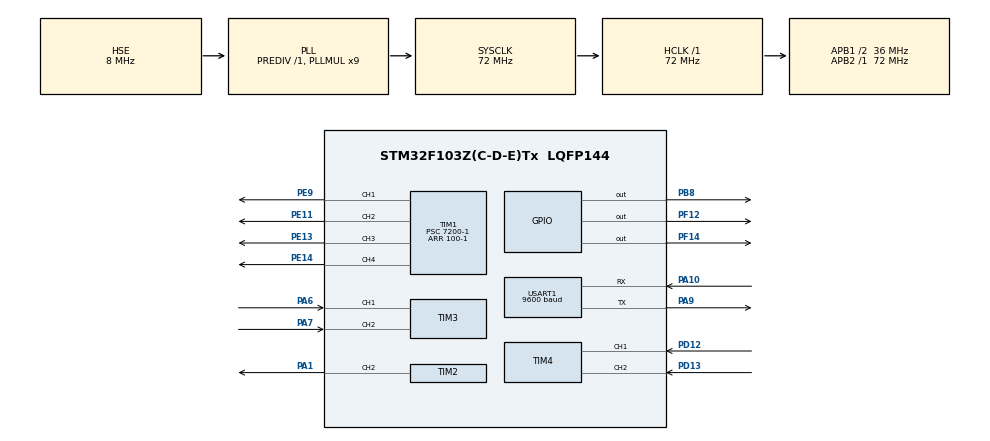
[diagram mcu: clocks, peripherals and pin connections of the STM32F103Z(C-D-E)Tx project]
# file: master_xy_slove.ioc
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Mcu.Family=STM32F1
Mcu.Name=STM32F103Z(C-D-E)Tx
Mcu.Package=LQFP144
NVIC.PriorityGroup=NVIC_PRIORITYGROUP_4
NVIC.TIM3_IRQn=true\:0\:0\:false\:false\:true\:true\:true\:true
NVIC.TIM4_IRQn=true\:0\:0\:false\:false\:true\:true\:true\:true
NVIC.TIM6_IRQn=true\:0\:0\:false\:false\:true\:true\:true\:true
NVIC.USART1_IRQn=true\:0\:0\:false\:false\:true\:true\:true\:true
OSC_IN.Mode=HSE-External-Oscillator
OSC_IN.Signal=RCC_OSC_IN
OSC_OUT.Mode=HSE-External-Oscillator
OSC_OUT.Signal=RCC_OSC_OUT
PA1.Signal=S_TIM2_CH2
PA10.Mode=Asynchronous
PA10.Signal=USART1_RX
PA13.Mode=Serial_Wire
PA13.Signal=SYS_JTMS-SWDIO
PA14.Mode=Serial_Wire
PA14.Signal=SYS_JTCK-SWCLK
PA6.Signal=S_TIM3_CH1
PA7.Signal=S_TIM3_CH2
PA9.Mode=Asynchronous
PA9.Signal=USART1_TX
PB8.Signal=GPIO_Output
PD12.Signal=S_TIM4_CH1
PD13.Signal=S_TIM4_CH2
PE11.Signal=S_TIM1_CH2
PE13.Signal=S_TIM1_CH3
PE14.Signal=S_TIM1_CH4
PE9.Signal=S_TIM1_CH1
PF12.Signal=GPIO_Output
PF14.Signal=GPIO_Output
ProjectManager.HeapSize=0x200
ProjectManager.StackSize=0x400
ProjectManager.TargetToolchain=MDK-ARM V5.32
RCC.AHBFreq_Value=72000000
RCC.APB1CLKDivider=RCC_HCLK_DIV2
RCC.APB1Freq_Value=36000000
RCC.APB1TimFreq_Value=72000000
RCC.APB2Freq_Value=72000000
RCC.APB2TimFreq_Value=72000000
RCC.HCLKFreq_Value=72000000
RCC.PLLMUL=RCC_PLL_MUL9
RCC.PLLSourceVirtual=RCC_PLLSOURCE_HSE
RCC.SYSCLKFreq_VALUE=72000000
RCC.SYSCLKSource=RCC_SYSCLKSOURCE_PLLCLK
RCC.USBFreq_Value=72000000
SH.S_TIM1_CH1.0=TIM1_CH1,PWM Generation1 CH1
SH.S_TIM1_CH2.0=TIM1_CH2,PWM Generation2 CH2
SH.S_TIM1_CH3.0=TIM1_CH3,PWM Generation3 CH3
SH.S_TIM1_CH4.0=TIM1_CH4,PWM Generation4 CH4
SH.S_TIM2_CH2.0=TIM2_CH2,PWM Generation2 CH2
SH.S_TIM3_CH1.0=TIM3_CH1,Encoder_Interface
SH.S_TIM3_CH2.0=TIM3_CH2,Encoder_Interface
SH.S_TIM4_CH1.0=TIM4_CH1,Encoder_Interface
SH.S_TIM4_CH2.0=TIM4_CH2,Encoder_Interface
TIM1.Channel-PWM\ Generation1\ CH1=TIM_CHANNEL_1
TIM1.Channel-PWM\ Generation2\ CH2=TIM_CHANNEL_2
TIM1.Channel-PWM\ Generation3\ CH3=TIM_CHANNEL_3
TIM1.Channel-PWM\ Generation4\ CH4=TIM_CHANNEL_4
TIM1.Period=100-1
TIM1.Prescaler=7200-1
TIM2.Channel-PWM\ Generation2\ CH2=TIM_CHANNEL_2
TIM2.Period=20000-1
TIM2.Prescaler=72-1
TIM3.EncoderMode=TIM_ENCODERMODE_TI12
TIM4.EncoderMode=TIM_ENCODERMODE_TI12
TIM6.Period=1000-1
TIM6.Prescaler=7200-1
TIM7.Prescaler=7200
USART1.BaudRate=9600
USART1.VirtualMode=VM_ASYNC
VP_TIM6_VS_ClockSourceINT.Mode=Enable_Timer
VP_TIM7_VS_ClockSourceINT.Mode=Enable_Timer
board=custom

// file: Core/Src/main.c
/* USER CODE BEGIN Header */
/**
  ******************************************************************************
  * @file           : main.c
  * @brief          : Main program body
  ******************************************************************************
  * @attention
  *
  * Copyright (c) 2024 STMicroelectronics.
  * All rights reserved.
  *
  * This software is licensed under terms that can be found in the LICENSE file
  * in the root directory of this software component.
  * If no LICENSE file comes with this software, it is provided AS-IS.
  *
  ******************************************************************************
  */
/* USER CODE END Header */
#include "main.h"
#include "tim.h"
#include "usart.h"
#include "gpio.h"

/* USER CODE BEGIN Includes */
#include "stdio.h"
#include "string.h"
#include "oled.h"

/* USER CODE END Includes */

/* USER CODE BEGIN PD */
#define pi 3.14			//圆周率
#define r  1.5			//编码器所带轮子的半径
#define n  11
#define i  50
#define rr  1.5
#define t  100			//中断一次时间

/* USER CODE END PD */

void SystemClock_Config(void);
/* USER CODE BEGIN PFP */

float  act_m_speed2;
float  act_m_distance2;			//底部绞盘
float  act_m_speed3;
float  act_m_distance3;			//升降梯

int myabs(int a)	//绝对值函数
{
	int temp;
	if(a<0)  temp=-a;
	else temp=a;
	return temp;
}
//pwm驱动电机
//参数（第几个轮子，运动模式，占空比）
void Set_Pwm(uint8_t who,uint8_t mode,int motor_pwm)
{
    if(who==1)
	{
		if(mode==1)
		{
			HAL_GPIO_WritePin (GPIOE,GPIO_PIN_9 ,GPIO_PIN_RESET );
			HAL_GPIO_WritePin (GPIOE,GPIO_PIN_11 ,GPIO_PIN_SET );
			__HAL_TIM_SET_COMPARE (&htim1,TIM_CHANNEL_1 ,0);
			__HAL_TIM_SET_COMPARE (&htim1,TIM_CHANNEL_2 ,motor_pwm);
		}
		else if(mode==2)
		{
			HAL_GPIO_WritePin (GPIOE,GPIO_PIN_9 ,GPIO_PIN_SET );
			HAL_GPIO_WritePin (GPIOE,GPIO_PIN_11,GPIO_PIN_RESET );
			__HAL_TIM_SET_COMPARE (&htim1 ,TIM_CHANNEL_1 ,myabs(motor_pwm));
			__HAL_TIM_SET_COMPARE (&htim1 ,TIM_CHANNEL_2 ,0);
		}
		else if(mode==3)
		{
			if(motor_pwm>0)
			{
			HAL_GPIO_WritePin (GPIOE,GPIO_PIN_9 ,GPIO_PIN_RESET );
			HAL_GPIO_WritePin (GPIOE,GPIO_PIN_11 ,GPIO_PIN_SET );
			__HAL_TIM_SET_COMPARE (&htim1,TIM_CHANNEL_1 ,0);
			__HAL_TIM_SET_COMPARE (&htim1,TIM_CHANNEL_2 ,motor_pwm);
			}
			else if(motor_pwm<0)
			{
			HAL_GPIO_WritePin (GPIOE,GPIO_PIN_9 ,GPIO_PIN_SET );
			HAL_GPIO_WritePin (GPIOE,GPIO_PIN_11,GPIO_PIN_RESET );
			__HAL_TIM_SET_COMPARE (&htim1,TIM_CHANNEL_1 ,myabs(motor_pwm));
			__HAL_TIM_SET_COMPARE (&htim1,TIM_CHANNEL_2 ,0);
			}
			else
			{
				HAL_GPIO_WritePin (GPIOE,GPIO_PIN_9 ,GPIO_PIN_RESET );
				HAL_GPIO_WritePin (GPIOE,GPIO_PIN_11,GPIO_PIN_RESET );
				__HAL_TIM_SET_COMPARE (&htim1 ,TIM_CHANNEL_1,0);
				__HAL_TIM_SET_COMPARE (&htim1 ,TIM_CHANNEL_2,0);
			}
		}
		else
		{
			HAL_GPIO_WritePin (GPIOE,GPIO_PIN_9 ,GPIO_PIN_RESET );
			HAL_GPIO_WritePin (GPIOE,GPIO_PIN_11,GPIO_PIN_RESET );
			__HAL_TIM_SET_COMPARE (&htim1,TIM_CHANNEL_1 ,0);
			__HAL_TIM_SET_COMPARE (&htim1,TIM_CHANNEL_2 ,0);
		}
	}
	if(who==2)							//电机1
	{
		if(mode==1)						//正转
		{
			HAL_GPIO_WritePin (GPIOE,GPIO_PIN_13,GPIO_PIN_RESET );
			HAL_GPIO_WritePin (GPIOE,GPIO_PIN_14 ,GPIO_PIN_SET );
			__HAL_TIM_SET_COMPARE (&htim1 ,TIM_CHANNEL_3 ,0);
			__HAL_TIM_SET_COMPARE (&htim1 ,TIM_CHANNEL_4 ,motor_pwm);
		}
		else if(mode==2)				//反转
		{
			HAL_GPIO_WritePin (GPIOE,GPIO_PIN_13,GPIO_PIN_SET );
			HAL_GPIO_WritePin (GPIOE,GPIO_PIN_14 ,GPIO_PIN_RESET );
			__HAL_TIM_SET_COMPARE (&htim1 ,TIM_CHANNEL_3 ,myabs(motor_pwm));
			__HAL_TIM_SET_COMPARE (&htim1 ,TIM_CHANNEL_4 ,0);
		}
		else if(mode==3)				//pid调节模式
		{
			if(motor_pwm>0)				//正
			{
			HAL_GPIO_WritePin (GPIOE,GPIO_PIN_13,GPIO_PIN_RESET );
			HAL_GPIO_WritePin (GPIOE,GPIO_PIN_14,GPIO_PIN_SET );
			__HAL_TIM_SET_COMPARE (&htim1 ,TIM_CHANNEL_3 ,0);
			__HAL_TIM_SET_COMPARE (&htim1 ,TIM_CHANNEL_4 ,motor_pwm);
			}
			else if(motor_pwm<0)		//反
			{
			HAL_GPIO_WritePin (GPIOE,GPIO_PIN_13,GPIO_PIN_SET );
			HAL_GPIO_WritePin (GPIOE,GPIO_PIN_14 ,GPIO_PIN_RESET );
			__HAL_TIM_SET_COMPARE (&htim1 ,TIM_CHANNEL_3 ,myabs(motor_pwm));
			__HAL_TIM_SET_COMPARE (&htim1 ,TIM_CHANNEL_4 ,0);
			}
			else 						//停
			{
				HAL_GPIO_WritePin (GPIOE,GPIO_PIN_13,GPIO_PIN_RESET );
				HAL_GPIO_WritePin (GPIOE,GPIO_PIN_14 ,GPIO_PIN_RESET );
				__HAL_TIM_SET_COMPARE (&htim1 ,TIM_CHANNEL_3 ,0);
				__HAL_TIM_SET_COMPARE (&htim1 ,TIM_CHANNEL_4 ,0);
			}
		}
		else 							//停
		{
				HAL_GPIO_WritePin (GPIOE,GPIO_PIN_13,GPIO_PIN_RESET );
				HAL_GPIO_WritePin (GPIOE,GPIO_PIN_14 ,GPIO_PIN_RESET );
				__HAL_TIM_SET_COMPARE (&htim1 ,TIM_CHANNEL_3 ,0);
				__HAL_TIM_SET_COMPARE (&htim1 ,TIM_CHANNEL_4 ,0);
		}
	}
}

//定义pid结构体存放pid数据
typedef struct
{
   	float kp,ki,kd;
    float error,err_next,err_last;//误差，上次误差，上上次误差
    float integral,maxIntegral;//积分，积分限幅
    float output,maxOutput;//输出，输出限幅
}pid;

pid add2;//内环
pid pos2;//外环
pid add3;//内环
pid pos3;//外环

//初始化位置环pid参数
void PID_Init_pos(pid *ppid,float p,float ii,float d,float maxI,float maxOut)
{
    ppid->kp=p;
    ppid->ki=ii;
    ppid->kd=d;
    ppid->maxIntegral=maxI;
    ppid->maxOutput=maxOut;
}
//初始化速度环pid参数
void PID_Init_add(pid *ppid,float p,float ii,float d)
{
    ppid->kp=p;
    ppid->ki=ii;
    ppid->kd=d;
}

//位置环
//执行一次pid计算
//参数为（pid结构体，目标值，反馈值），计算结果存放output成员中
float PID_Calc_pos(pid *ppid,float target,float back)
{
 	//更新数据
    ppid->err_next=ppid->error;//??error???
    ppid->error=target-back;//???error
    //计算微分
    float dout=(ppid->error-ppid->err_next)*ppid->kd;
    //计算比例
    float pout=ppid->error*ppid->kp;
    //计算积分
    ppid->integral+=ppid->error*ppid->ki;
    //积分限幅
    if(ppid->integral > ppid->maxIntegral) ppid->integral=ppid->maxIntegral;
    else if(ppid->integral < -ppid->maxIntegral) ppid->integral=-ppid->maxIntegral;
    //计算输出
    ppid->output=pout+dout+ppid->integral;
    //输出限幅
    if(ppid->output > ppid->maxOutput) ppid->output=ppid->maxOutput;
    else if(ppid->output < -ppid->maxOutput) ppid->output=-ppid->maxOutput;
    return ppid->output;
}
//速度环
//执行一次pid计算
//参数为（pid结构体，目标值，反馈值），计算结果存放output成员中
float PID_Calc_add(pid *ppid,float target,float back)
{
 	//更新数据
    ppid->error=target-back;//???error
    //计算微分
    float dout=(ppid->error-2*ppid->err_next+ppid->err_last)*ppid->kd;        //pid.Kd*(pid.err-2*pid.err_next+pid.err_last);
    //计算比例
    float pout=(ppid->error-ppid->err_next)*ppid->kp;                           //pid.Kp*(pid.err-pid.err_next)
    //计算积分
    ppid->integral=ppid->error*ppid->ki;                                        //pid.Ki*pid.err
    //计算输出
	float vas=pout+dout+ppid->integral;
    ppid->output+=vas ;
 	ppid->err_last=ppid->err_next;
    ppid->err_next=ppid->error;//??error???
    return ppid->output;
}

// 获取add/pos当前误差值
float get_error(pid *ppid)
{
  return ppid->error;
}
// 获取add/pos上次误差值
float get_last_error(pid *ppid)
{
  return ppid->err_next ;
}

//串级pid计算
//参数（外环目标值，外环反馈值，内环反溃值）
//外环pid输出目标速度，作为内环输入目标值，限制外环输出，也就是限制车目标速度最大值
float PID_CascadeCalc_2(float pos_targ,float pos_back,float add_back)
{
    float a=PID_Calc_pos(&pos2,pos_targ,pos_back);//计算外环
    float end_value=PID_Calc_add(&add2,a,add_back);//计算内环
    return end_value;
}
float PID_CascadeCalc_3(float pos_targ,float pos_back,float add_back)
{
    float a=PID_Calc_pos(&pos3,pos_targ,pos_back);//计算外环
    float end_value=PID_Calc_add(&add3,a,add_back);//计算内环
    return end_value;
}

//编码器计数	motor_2
int16_t Encoder_Get_2(void)
{
	int16_t Temp;
	Temp =  __HAL_TIM_GetCounter(&htim3);
	TIM3->CNT =0;
	return Temp;
}
//编码器计数	motor_3
int16_t Encoder_Get_3(void)
{
	int16_t Temp;
	Temp =  __HAL_TIM_GetCounter(&htim4);
	TIM4 ->CNT =0;
	return Temp;
}

//得到每次单位时间内行走的距离（轮子2）   cm
float tool_distance_2(void)
{
	int16_t b;
	float s;
    b=Encoder_Get_2();
	s=(b*2*pi*rr)/(4*n*i);
	return s;
}
//得到每次单位时间内行走的距离（轮子3）   cm
float tool_distance_3(void)
{
	int16_t b;
	float s;
    b=Encoder_Get_3();
	s=(b*2*pi*rr)/(4*n*i);
	return s;
}

float target_dis_2(int16_t dis)			//设置轮2目标位移
{
	return dis;
}
float target_dis_3(int16_t dis)			//设置轮3目标位移
{
	return dis;
}

typedef struct
{
	float sx,s2,s3;   //各轮所需要目标位移变量
}dis;
dis dd;
void liner_dis(dis *ddd,float v22,float v33)		//底盘分解公式，得出各轮所需要目标位移
{
	float v2,v3;
	v2=v22;
	v3=v33;
	ddd->s2 =target_dis_2(v2);
	ddd->s3 =target_dis_3(v3);
}

//计算轮子2
float  distance_2;
float  speed_pos_2;
void caculate_2()
{
//	act_m_distance2+=tool_distance_2();   //actual  轮子行径距离cm
//    distance_2=PID_Calc_pos(&pos2,3,act_m_distance2);

    act_m_distance2+=tool_distance_2();   //actual  轮子行径距离cm
	act_m_speed2=tool_distance_2()*10;		//actual  轮子转速cm/s
	speed_pos_2=PID_CascadeCalc_2(dd.s2 ,act_m_distance2,act_m_speed2);
	Set_Pwm(1,3,speed_pos_2);
//	Set_Pwm (1,3,distance_2);

}
//计算轮子3
float  distance_3;
float  speed_pos_3;
void caculate_3()
{
//	act_m_distance3+=tool_distance_3();   //actual  轮子行径距离cm
//   distance_3=PID_Calc_pos(&pos3,10,act_m_distance3);
    act_m_distance3+=tool_distance_3();   //actual  轮子行径距离cm
	act_m_speed3=tool_distance_3()*10;		//actual  轮子转速cm/s
	speed_pos_3=PID_CascadeCalc_3(dd.s3 ,act_m_distance3,act_m_speed3);
	Set_Pwm(2,3,speed_pos_3);
//	Set_Pwm (3,3,distance_3);

}

void angle_take_on(float angle)	//爪子张开  100
{
	__HAL_TIM_SET_COMPARE (&htim2 ,TIM_CHANNEL_2 ,angle/180*2000+500);
}
void angle_take_off(float angle)	//爪子闭合  0
{
	__HAL_TIM_SET_COMPARE (&htim2 ,TIM_CHANNEL_2 ,angle/180*2000+500);
}

//中断回调函数
uint16_t a=0;
void HAL_TIM_PeriodElapsedCallback(TIM_HandleTypeDef *htim)
{
  if(htim ->Instance ==TIM6 )
  {
	  a++;			//测试中断函数正常否
	  caculate_2();
	  caculate_3();
  }
}

//类似于lcd显示串口接收数据
char arr_send[20];			//定义发送数组
void send_dat_1()
{
	sprintf (arr_send,"dis:%.2fcm\r\n",act_m_distance2);
	HAL_UART_Transmit(&huart1 ,(uint8_t  *)arr_send,sizeof (arr_send ),50);
}
void send_dat_2()
{
	sprintf (arr_send,"dis:%dcm\r\n",Encoder_Get_2());
	HAL_UART_Transmit(&huart1 ,(uint8_t  *)arr_send,sizeof (arr_send ),50);
}

char send_buff[20];
uint8_t rec_buff[20];

uint8_t rec_data, count;
uint8_t rec_flag;
void HAL_UART_RxCpltCallback(UART_HandleTypeDef *huart)
{
	if(huart->Instance == USART1)
	{
		//HAL_UART_Transmit(huart, &rec_data, 1, 50);
		TIM7->CNT = 0;
		rec_flag = 1;
		rec_buff[count] = rec_data;
		count++;
		HAL_UART_Receive_IT(huart, &rec_data, 1);
	}
}

uint8_t turn_on_flag=0;
uint8_t turn_off_flag=0;
uint8_t take_on_flag=0;
uint8_t take_off_flag=0;
void uart_data_rec()		//接收函数
{
	if(rec_flag)
	{
		if(TIM7->CNT > 15)  //数据接收完成
		{
			//处理数据
			if(rec_buff[0] == 'A') //爪子张开
			{
		        angle_take_on(20);
			}
			else if(rec_buff[0] == 'B' ) //爪子初始化闭合
			{
				angle_take_off(100);
			}
			else if(rec_buff[0] == 'C')  //测试
			{
		        HAL_GPIO_WritePin (GPIOB,GPIO_PIN_8,GPIO_PIN_SET );
			}
			else if(rec_buff[0] == 'D' ) //爪子抓取后闭合
			{
				angle_take_off(100);
			}
			else if(rec_buff[0] == 'E' ) //底部绞盘旋转到目标
			{
				liner_dis (&dd,6,0);
			}
			else if(rec_buff[0] == 'F' ) //底部绞盘旋转回正
			{
				liner_dis (&dd,0,1);
			}
			else if(rec_buff[0] == 'G' ) //升降梯上升
			{
				liner_dis (&dd,4,1);
			}
			else if(rec_buff[0] == 'H' ) //升降梯下降
			{
				liner_dis (&dd,0,0);
			}
			else
			{
				sprintf(send_buff, "error!\r\n");
				HAL_UART_Transmit(&huart1, (uint8_t *)send_buff, sizeof(send_buff), 50);
			}

			rec_flag = 0;
			for(int j=0; j<count; j++)
				rec_buff[j] = 0;
			count = 0;
		}
	}
}

/* USER CODE END PFP */

int main(void)
{

  /* MCU Configuration--------------------------------------------------------*/

  /* Reset of all peripherals, Initializes the Flash interface and the Systick. */
  HAL_Init();

  /* Configure the system clock */
  SystemClock_Config();

  /* Initialize all configured peripherals */
  MX_GPIO_Init();
  MX_TIM1_Init();
  MX_TIM2_Init();
  MX_TIM3_Init();
  MX_TIM4_Init();
  MX_TIM6_Init();
  MX_USART1_UART_Init();
  MX_TIM7_Init();
  /* USER CODE BEGIN 2 */
  HAL_UART_Receive_IT (&huart1,&rec_data ,1);
  HAL_TIM_Base_Start(&htim7);

  OLED_Init ();
  HAL_TIM_Encoder_Start(&htim3,TIM_CHANNEL_1);
  HAL_TIM_Encoder_Start(&htim3,TIM_CHANNEL_2);		//底部绞盘

  HAL_TIM_Encoder_Start(&htim4,TIM_CHANNEL_1 );
  HAL_TIM_Encoder_Start(&htim4,TIM_CHANNEL_2 );		//升降梯

  HAL_TIM_PWM_Start(&htim1,TIM_CHANNEL_1);
  HAL_TIM_PWM_Start(&htim1,TIM_CHANNEL_2);
  HAL_TIM_PWM_Start(&htim1,TIM_CHANNEL_3);
  HAL_TIM_PWM_Start(&htim1,TIM_CHANNEL_4);			//电机
  HAL_TIM_PWM_Start(&htim2,TIM_CHANNEL_2);          //舵机

  HAL_TIM_Base_Start_IT (&htim6);					//中断

  PID_Init_add(&add2,10,0,2);//初始化内环参数   速度环
  PID_Init_add(&add3,10,0,1);//初始化内环参数   速度环

  PID_Init_pos(&pos2,10,0.1,3,1000,2000);//初始化外环参数    位置环
  PID_Init_pos(&pos3,10,0,3,1000,2000);//初始化外环参数    位置环

//  liner_dis (&dd,6,6);

//  angle_take_on(10);

  /* USER CODE END 2 */

  /* Infinite loop */
  /* USER CODE BEGIN WHILE */
  while (1)
  {
//	send_dat_1();
	uart_data_rec();
	OLED_ShowString(0,29,(uint8_t *)rec_buff,16,1);//14
	OLED_DisplayTurn(0);
	OLED_Refresh();

    /* USER CODE END WHILE */

  }
}

void SystemClock_Config(void)
{
  RCC_OscInitTypeDef RCC_OscInitStruct = {0};
  RCC_ClkInitTypeDef RCC_ClkInitStruct = {0};

  /** Initializes the RCC Oscillators according to the specified parameters
  * in the RCC_OscInitTypeDef structure.
  */
  RCC_OscInitStruct.OscillatorType = RCC_OSCILLATORTYPE_HSE;
  RCC_OscInitStruct.HSEState = RCC_HSE_ON;
  RCC_OscInitStruct.HSEPredivValue = RCC_HSE_PREDIV_DIV1;
  RCC_OscInitStruct.HSIState = RCC_HSI_ON;
  RCC_OscInitStruct.PLL.PLLState = RCC_PLL_ON;
  RCC_OscInitStruct.PLL.PLLSource = RCC_PLLSOURCE_HSE;
  RCC_OscInitStruct.PLL.PLLMUL = RCC_PLL_MUL9;
  if (HAL_RCC_OscConfig(&RCC_OscInitStruct) != HAL_OK)
  {
    Error_Handler();
  }

  /** Initializes the CPU, AHB and APB buses clocks
  */
  RCC_ClkInitStruct.ClockType = RCC_CLOCKTYPE_HCLK|RCC_CLOCKTYPE_SYSCLK
                              |RCC_CLOCKTYPE_PCLK1|RCC_CLOCKTYPE_PCLK2;
  RCC_ClkInitStruct.SYSCLKSource = RCC_SYSCLKSOURCE_PLLCLK;
  RCC_ClkInitStruct.AHBCLKDivider = RCC_SYSCLK_DIV1;
  RCC_ClkInitStruct.APB1CLKDivider = RCC_HCLK_DIV2;
  RCC_ClkInitStruct.APB2CLKDivider = RCC_HCLK_DIV1;

  if (HAL_RCC_ClockConfig(&RCC_ClkInitStruct, FLASH_LATENCY_2) != HAL_OK)
  {
    Error_Handler();
  }
}

void Error_Handler(void)
{
  __disable_irq();
  while (1)
  {
  }
}
